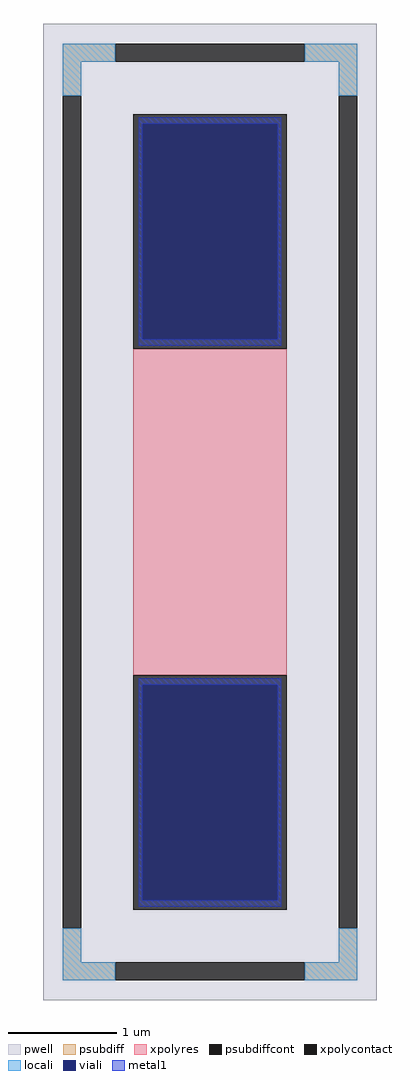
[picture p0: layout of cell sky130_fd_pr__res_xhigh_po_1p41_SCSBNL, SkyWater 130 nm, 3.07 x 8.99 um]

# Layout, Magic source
magic
tech sky130A
magscale 1 2
<< pwell >>
rect -307 -899 307 899
<< psubdiff >>
rect -271 829 -175 863
rect 175 829 271 863
rect -271 767 -237 829
rect 237 767 271 829
rect -271 -829 -237 -767
rect 237 -829 271 -767
rect -271 -863 -175 -829
rect 175 -863 271 -829
<< psubdiffcont >>
rect -175 829 175 863
rect -271 -767 -237 767
rect 237 -767 271 767
rect -175 -863 175 -829
<< xpolycontact >>
rect -141 301 141 733
rect -141 -733 141 -301
<< xpolyres >>
rect -141 -301 141 301
<< locali >>
rect -271 829 -175 863
rect 175 829 271 863
rect -271 767 -237 829
rect 237 767 271 829
rect -271 -829 -237 -767
rect 237 -829 271 -767
rect -271 -863 -175 -829
rect 175 -863 271 -829
<< viali >>
rect -125 318 125 715
rect -125 -715 125 -318
<< metal1 >>
rect -131 715 131 727
rect -131 318 -125 715
rect 125 318 131 715
rect -131 306 131 318
rect -131 -318 131 -306
rect -131 -715 -125 -318
rect 125 -715 131 -318
rect -131 -727 131 -715
<< properties >>
string FIXED_BBOX -254 -846 254 846
string gencell sky130_fd_pr__res_xhigh_po_1p41
string library sky130
string parameters w 1.410 l 3.168 m 1 nx 1 wmin 1.410 lmin 0.50 rho 2000 val 4.76k dummy 0 dw 0.0 term 188.2 sterm 0.0 caplen 0 wmax 1.410 guard 1 glc 1 grc 1 gtc 1 gbc 1 compatible {sky130_fd_pr__res_xhigh_po_0p35  sky130_fd_pr__res_xhigh_po_0p69 sky130_fd_pr__res_xhigh_po_1p41  sky130_fd_pr__res_xhigh_po_2p85 sky130_fd_pr__res_xhigh_po_5p73} snake 0 full_metal 1 n_guard 0 hv_guard 0 vias 1 viagb 0 viagt 0 viagl 0 viagr 0
<< end >>
